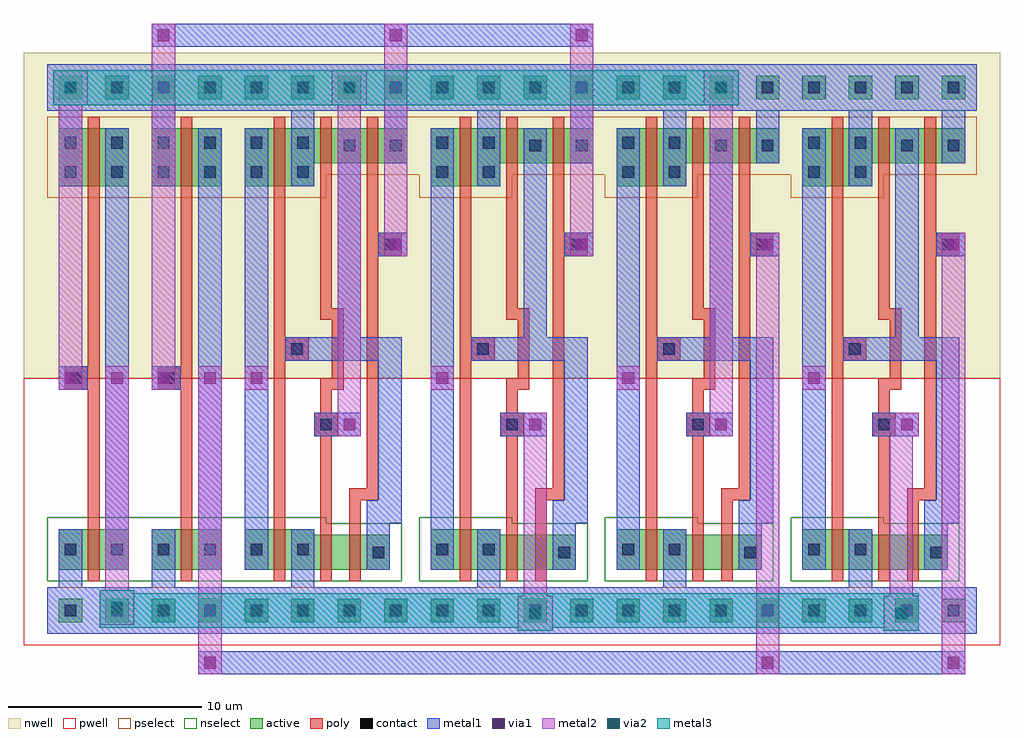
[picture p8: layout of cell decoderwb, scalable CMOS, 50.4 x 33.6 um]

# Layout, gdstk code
import gdstk
lib = gdstk.Library(unit=1e-6, precision=1e-09)
def R(c, l, rs):  # rectangles x0, y0, x1, y1
    for r in rs: c.add(gdstk.rectangle(r[:2], r[2:], *l))
def A(c, l, x, y, w, h, nx, ny, dx, dy):  # array of equal rectangles
    R(c, l, [(x+i*dx, y+j*dy, x+i*dx+w, y+j*dy+h) for i in range(nx) for j in range(ny)])
contact = (25, 0)
pwell = (41, 0)
nwell = (42, 0)
active = (43, 0)
pselect = (44, 0)
nselect = (45, 0)
poly = (46, 0)
metal1 = (49, 0)
via1 = (50, 0)
metal2 = (51, 0)
via2 = (61, 0)
metal3 = (62, 0)

and2_1x = lib.new_cell('and2_1x')
A(and2_1x, contact, 0.3, -0.3, 0.6, 0.6, 4, 2, 2.4, 27)
R(and2_1x, contact, [(6.6,2.7,7.2,3.3), (0.3,2.85,0.9,3.45), (2.7,2.85,3.3,3.45), (3.9,9.3,4.5,9.9), (2.4,13.2,3,13.8), (7.2,18.6,7.8,19.2), (0.3,22.35,0.9,22.95), (2.7,22.35,3.3,22.95), (5.1,23.7,5.7,24.3), (7.5,23.7,8.1,24.3), (0.3,23.85,0.9,24.45), (2.7,23.85,3.3,24.45)])
A(and2_1x, pwell, -0.9, -1.5, 3, 3, 4, 1, 2.4, 0)
R(and2_1x, pwell, [(-1.8,-1.8,10.2,12), (-1.8,0.3,3,6), (-1.2,0.3,4.8,6), (0.6,0.3,5.4,6), (1.2,0.3,7.2,5.7), (2.7,0.3,8.7,5.7), (4.5,0.3,9.3,5.7), (2.325,0.75,7.575,5.25), (0.75,0.9,5.325,5.4), (4.575,0.9,9.15,5.4), (-1.65,1.35,2.925,5.85), (0.675,1.425,5.25,5.925)])
A(and2_1x, nwell, -0.9, 25.5, 3, 3, 4, 1, 2.4, 0)
R(and2_1x, nwell, [(-1.8,12,10.2,28.8), (-1.8,20.1,3,26.7), (-1.2,20.1,4.8,26.7), (0.6,20.1,5.4,26.7), (0.675,20.1,5.25,24.6), (-1.65,20.55,2.925,25.05), (0.75,21.3,5.325,25.8), (1.2,21.3,7.2,26.7), (3,21.3,7.8,26.7), (3.075,21.3,7.65,25.8), (3.15,21.3,7.65,26.7), (3.225,21.3,7.725,26.7), (3.6,21.3,9.6,26.7), (5.4,21.3,10.2,26.7), (3.15,22.2,7.725,26.7), (5.475,22.2,10.05,26.7)])
A(and2_1x, active, 0, -0.6, 1.2, 1.2, 4, 2, 2.4, 27)
R(and2_1x, active, [(0,2.1,1.2,4.2), (0.6,2.1,3,4.2), (2.4,2.1,3.6,4.2), (3,2.1,5.4,3.9), (4.5,2.1,6.9,3.9), (6.3,2.1,7.5,3.9), (4.125,2.55,5.775,3.45), (2.55,2.7,3.525,3.6), (6.375,2.7,7.35,3.6), (0.15,3.15,1.125,4.05), (2.475,3.225,3.45,4.125), (0,21.9,1.2,24.9), (0.6,21.9,3,24.9), (2.4,21.9,3.6,24.9), (2.475,21.9,3.45,22.8), (0.15,22.35,1.125,23.25), (2.55,23.1,3.525,24), (3,23.1,5.4,24.9), (4.8,23.1,6,24.9), (4.875,23.1,5.85,24), (4.95,23.1,5.85,24.9), (5.025,23.1,5.925,24.9), (5.4,23.1,7.8,24.9), (7.2,23.1,8.4,24.9), (4.95,24,5.925,24.9), (7.275,24,8.25,24.9)])
A(and2_1x, pselect, -0.6, -1.2, 2.4, 2.4, 4, 1, 2.4, 0)
R(and2_1x, pselect, [(-0.6,21.3,1.8,25.5), (0,21.3,3.6,25.5), (1.8,21.3,4.2,25.5), (1.875,21.3,4.05,23.4), (-0.45,21.75,1.725,23.85), (1.95,22.5,4.125,24.6), (2.4,22.5,6,25.5), (4.2,22.5,6.6,25.5), (4.275,22.5,6.45,24.6), (4.35,22.5,6.45,25.5), (4.425,22.5,6.525,25.5), (4.8,22.5,8.4,25.5), (6.6,22.5,9,25.5), (4.35,23.4,6.525,25.5), (6.675,23.4,8.85,25.5)])
A(and2_1x, nselect, -0.6, 25.8, 2.4, 2.4, 4, 1, 2.4, 0)
R(and2_1x, nselect, [(-0.6,1.5,1.8,4.8), (0,1.5,3.6,4.8), (1.8,1.5,4.2,4.8), (2.4,1.5,6,4.5), (3.9,1.5,7.5,4.5), (5.7,1.5,8.1,4.5), (3.525,1.95,6.375,4.05), (1.95,2.1,4.125,4.2), (5.775,2.1,7.95,4.2), (-0.45,2.55,1.725,4.65), (1.875,2.625,4.05,4.725)])
R(and2_1x, poly, [(1.5,1.5,2.1,4.8), (3.9,1.5,4.5,4.5), (5.4,1.5,6,4.5), (3.9,4.2,4.5,9.9), (5.4,4.2,6,6.3), (1.5,4.5,2.1,13.8), (5.4,5.7,6.9,6.3), (6.3,5.7,6.9,19.2), (3.6,9,4.8,10.2), (3.9,9.3,4.5,9.9), (3.9,9.3,4.5,12), (3.9,11.4,5.1,12), (4.5,11.4,5.1,15.6), (2.1,12.9,3.3,14.1), (1.5,13.2,2.1,21.6), (1.5,13.2,3,13.8), (3.9,15,4.5,22.8), (3.9,15,5.1,15.6), (6.9,18.3,8.1,19.5), (6.3,18.6,6.9,22.8), (6.3,18.6,7.8,19.2), (1.5,21.3,2.1,25.5), (3.9,22.5,4.5,25.5), (6.3,22.5,6.9,25.5)])
A(and2_1x, metal1, -0.6, -1.2, 4.8, 2.4, 3, 1, 2.4, 0)
A(and2_1x, metal1, 0, -0.6, 1.2, 1.2, 4, 2, 2.4, 27)
R(and2_1x, metal1, [(-0.6,-1.2,1.8,1.2), (-0.6,-1.2,4.2,1.2), (2.4,-0.6,3.6,3.3), (0,2.1,1.2,4.2), (2.4,2.1,3.6,4.2), (6.3,2.1,7.5,3.9), (6.3,2.7,7.5,5.7), (0,3,1.2,12.6), (6.3,4.5,8.1,5.7), (6.9,4.5,8.1,14.1), (3.6,9,4.8,10.2), (3.6,9,6,10.2), (4.8,9,6,10.2), (0,11.4,1.2,12.6), (0,11.4,1.2,23.1), (2.1,12.9,3.3,14.1), (2.1,12.9,6,14.1), (4.8,12.9,6,24.3), (4.8,12.9,8.1,14.1), (6.9,18.3,8.1,19.5), (6.9,18.3,8.1,19.5), (7.2,18.3,8.4,19.5), (0,21.9,1.2,24.9), (2.4,21.9,3.6,24.9), (4.8,23.1,6,24.9), (7.2,23.1,8.4,24.9), (2.4,23.7,3.6,27.6), (7.2,23.7,8.4,27.6), (-0.6,25.8,1.8,28.2), (-0.6,25.8,4.2,28.2), (1.8,25.8,9,28.2), (0,26.4,1.2,27.6), (4.8,26.4,8.4,27.6), (7.2,26.4,8.4,27.6)])
R(and2_1x, via1, [(5.1,9.3,5.7,9.9), (0.3,11.7,0.9,12.3), (7.5,18.6,8.1,19.2)])
R(and2_1x, metal2, [(4.8,9,6,10.2), (0,11.4,1.2,12.6), (7.2,18.3,8.4,19.5)])

inv_1x = lib.new_cell('inv_1x')
R(inv_1x, contact, [(0.3,-0.3,0.9,0.3), (2.7,-0.3,3.3,0.3), (0.3,2.85,0.9,3.45), (2.7,2.85,3.3,3.45), (0.6,11.7,1.2,12.3), (0.3,22.35,0.9,22.95), (2.7,22.35,3.3,22.95), (0.3,23.85,0.9,24.45), (2.7,23.85,3.3,24.45), (0.3,26.7,0.9,27.3), (2.7,26.7,3.3,27.3)])
R(inv_1x, pwell, [(-1.8,-1.8,5.4,12), (-0.9,-1.5,2.1,1.5), (1.5,-1.5,4.5,1.5), (-1.8,0.3,3,6), (-1.2,0.3,4.8,6), (0.6,0.3,5.4,6), (-1.65,0.9,2.925,5.4), (0.675,0.9,5.25,5.4), (0.75,0.9,5.25,6)])
R(inv_1x, nwell, [(-1.8,12,5.4,28.8), (-1.8,20.1,3,26.7), (-1.2,20.1,4.8,26.7), (0.6,20.1,5.4,26.7), (-1.65,21.15,2.925,25.65), (0.675,21.15,5.25,25.65), (-0.9,25.5,2.1,28.5), (1.5,25.5,4.5,28.5)])
R(inv_1x, active, [(0,-0.6,1.2,0.6), (2.4,-0.6,3.6,0.6), (0,2.1,1.2,4.2), (0.6,2.1,3,4.2), (2.4,2.1,3.6,4.2), (0.15,2.7,1.125,3.6), (2.475,2.7,3.45,3.6), (2.55,2.7,3.45,4.2), (0,21.9,1.2,24.9), (0.6,21.9,3,24.9), (2.4,21.9,3.6,24.9), (0.15,22.95,1.125,23.85), (2.475,22.95,3.45,23.85), (0,26.4,1.2,27.6), (2.4,26.4,3.6,27.6)])
R(inv_1x, pselect, [(-0.6,-1.2,1.8,1.2), (1.8,-1.2,4.2,1.2), (-0.6,21.3,1.8,25.5), (0,21.3,3.6,25.5), (1.8,21.3,4.2,25.5), (-0.45,22.35,1.725,24.45), (1.875,22.35,4.05,24.45)])
R(inv_1x, nselect, [(-0.6,1.5,1.8,4.8), (0,1.5,3.6,4.8), (1.8,1.5,4.2,4.8), (-0.45,2.1,1.725,4.2), (1.875,2.1,4.05,4.2), (1.95,2.1,4.05,4.8), (-0.6,25.8,1.8,28.2), (1.8,25.8,4.2,28.2)])
R(inv_1x, poly, [(1.5,1.5,2.1,4.8), (1.5,4.5,2.1,12.3), (0.3,11.4,1.5,12.6), (0.6,11.7,2.1,12.3), (1.5,11.7,2.1,21.6), (1.5,21.3,2.1,25.5)])
R(inv_1x, metal1, [(-0.6,-1.2,4.2,1.2), (-0.6,-1.2,4.2,1.2), (0,-0.6,1.2,0.6), (0,-0.6,1.2,3.15), (2.4,-0.6,3.6,0.6), (0,2.1,1.2,4.2), (2.4,2.1,3.6,4.2), (2.4,3.15,3.6,12.6), (0,11.4,1.2,12.6), (0.3,11.4,1.5,12.6), (0.3,11.4,1.5,12.6), (2.4,11.4,3.6,12.6), (2.4,11.4,3.6,22.95), (2.55,11.55,3.45,12.45), (0,21.9,1.2,24.9), (2.4,21.9,3.6,24.9), (0,23.85,1.2,27.6), (-0.6,25.8,1.8,28.2), (-0.6,25.8,4.2,28.2), (0,26.4,1.2,27.6), (0,26.4,1.2,27.6), (2.4,26.4,3.6,27.6)])
R(inv_1x, via1, [(0.3,11.7,0.9,12.3), (2.7,11.7,3.3,12.3)])
R(inv_1x, metal2, [(0,11.4,1.2,12.6), (2.4,11.4,3.6,12.6)])

decoderwb = lib.new_cell('decoderwb')
A(decoderwb, metal1, 8.4, -1.2, 12, 2.4, 3, 2, 9.6, 27)
R(decoderwb, metal1, [(6.6,-3.3,7.8,-2.1), (6.6,-3.3,36.6,-2.1), (35.4,-3.3,36.6,-2.1), (35.4,-3.3,45.9,-2.1), (45,-3.3,46.2,-2.1), (-1.2,-1.2,6,1.2), (3.6,-1.2,10.8,1.2), (1.8,11.4,3,12.6), (1.8,11.4,3,12.6), (6.6,11.4,7.8,12.6), (6.6,11.4,7.8,12.6), (-1.2,25.8,6,28.2), (3.6,25.8,10.8,28.2), (4.2,29.1,5.4,30.3), (4.2,29.1,17.4,30.3), (16.2,29.1,17.4,30.3), (16.2,29.1,27,30.3), (25.8,29.1,27,30.3)])
R(decoderwb, via1, [(6.9,-3,7.5,-2.4), (35.7,-3,36.3,-2.4), (45.3,-3,45.9,-2.4), (2.1,11.7,2.7,12.3), (6.9,11.7,7.5,12.3), (4.5,29.4,5.1,30), (16.5,29.4,17.1,30), (26.1,29.4,26.7,30)])
R(decoderwb, metal2, [(6.6,-3.3,7.8,-2.1), (6.6,-3.3,7.8,12.6), (35.4,-3.3,36.6,-2.1), (35.4,-3.3,36.6,19.5), (45,-3.3,46.2,-2.1), (45,-3.3,46.2,19.5), (23.1,-1.05,24.9,0.75), (42,-1.05,43.8,0.75), (1.5,-0.75,3.3,1.05), (23.4,-0.75,24.6,9.9), (42.3,-0.75,43.5,9.9), (1.8,-0.45,3,12.6), (13.8,9.3,15,27.6), (33,9.3,34.2,27.6), (1.8,11.4,3,12.6), (6.6,11.4,7.8,12.6), (-0.6,11.7,0.6,27.6), (4.2,11.7,5.4,30.3), (16.2,18.3,17.4,30.3), (25.8,18.6,27,30), (-0.9,26.1,0.9,27.9), (13.5,26.1,15.3,27.9), (32.7,26.1,34.5,27.9), (4.2,29.1,5.4,30.3), (16.2,29.1,17.4,30.3), (25.8,29.1,27,30.3)])
R(decoderwb, via2, [(23.7,-0.45,24.3,0.15), (42.6,-0.45,43.2,0.15), (2.1,-0.15,2.7,0.45), (-0.3,26.7,0.3,27.3), (14.1,26.7,14.7,27.3), (33.3,26.7,33.9,27.3)])
R(decoderwb, metal3, [(23.1,-1.05,24.9,0.75), (42,-1.05,43.8,0.75), (1.5,-0.9,24.9,0.9), (23.1,-0.9,43.8,0.9), (1.5,-0.75,3.3,1.05), (-0.9,26.1,0.9,27.9), (-0.9,26.1,15.3,27.9), (13.5,26.1,15.3,27.9), (13.5,26.1,34.5,27.9), (32.7,26.1,34.5,27.9)])
decoderwb.add(gdstk.Reference(and2_1x, (9,0)))
decoderwb.add(gdstk.Reference(and2_1x, (18.6,0)))
decoderwb.add(gdstk.Reference(and2_1x, (28.2,0)))
decoderwb.add(gdstk.Reference(and2_1x, (37.8,0)))
decoderwb.add(gdstk.Reference(inv_1x, (4.2,0)))
decoderwb.add(gdstk.Reference(inv_1x, (-0.6,0)))

lib.write_gds('decoderwb.gds')
